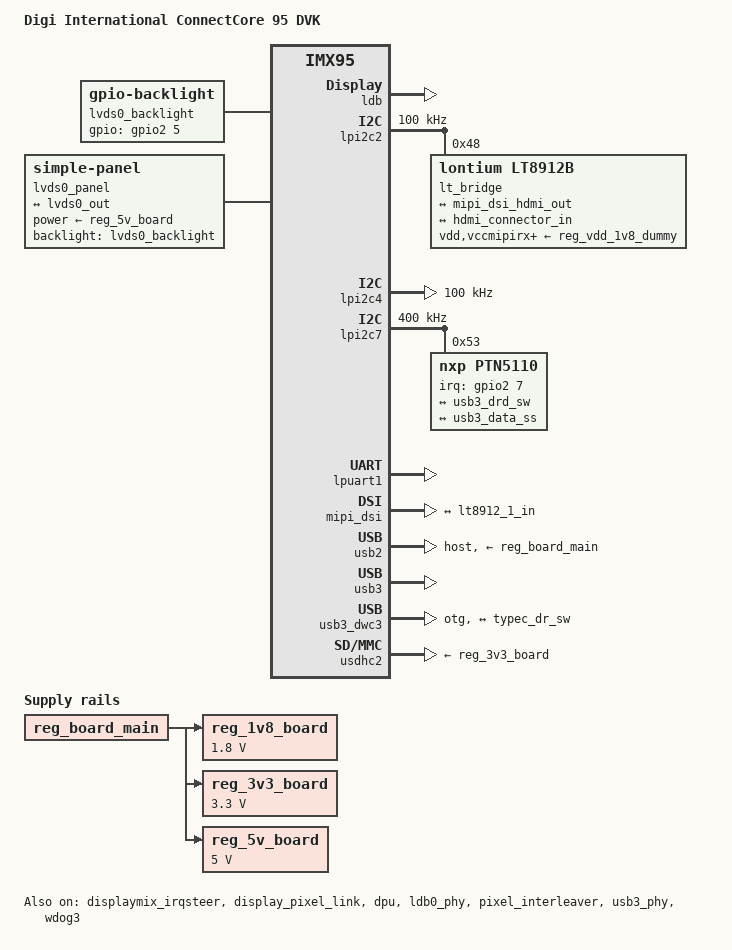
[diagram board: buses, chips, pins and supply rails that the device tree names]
// SPDX-License-Identifier: (GPL-2.0+ OR MIT)
/*
 * Copyright 2025-2026 Digi International Inc.
 */

/dts-v1/;

#include <dt-bindings/phy/phy-imx8-pcie.h>
#include <dt-bindings/regulator/nxp,pf09-regulator.h>
#include <dt-bindings/pwm/pwm.h>
#include <dt-bindings/usb/pd.h>
/* i.MX95 CPU */
#include "imx95.dtsi"
/* Digi ConnectCore 95 (SOM) */
#include "ccimx95.dtsi"
/* Digi ConnectCore 95 SMARC card for SOM */
#include "ccimx95-smarc.dtsi"

/ {
	model = "Digi International ConnectCore 95 DVK";
	compatible = "digi,ccimx95-dvk", "digi,ccimx95", "fsl,imx95-19x19-evk", "fsl,imx95";
	digi,machine,name = "ccimx95-dvk";

	aliases {
		ethernet0 = &enetc_port0;
		ethernet1 = &enetc_port1;
	};

	chosen {
		stdout-path = &lpuart1;
	};

	hdmi_connector: hdmi-connector {
		compatible = "hdmi-connector";
		pinctrl-names = "default";
		pinctrl-0 = <&pinctrl_hdmi_hpd>;
		ddc-i2c-bus = <&lpi2c2>;
		hdmi-pwr-supply = <&reg_5v_board>;
		hpd-gpios = <&gpio1 8 GPIO_ACTIVE_HIGH>;
		label = "hdmi";
		type = "a";
		status = "disabled";

		port {
			hdmi_connector_in: endpoint {
				remote-endpoint = <&lt8912_out>;
			};
		};
	};

	lvds0_backlight: lvds0-backlight {
		compatible = "gpio-backlight";
		pinctrl-names = "default";
		pinctrl-0 = <&pinctrl_lvds0_backlight>;
		gpios = <&gpio2 5 GPIO_ACTIVE_HIGH>;
		default-on;
		status = "okay";
	};

	lvds0_panel {
		compatible = "simple-panel";
		backlight = <&lvds0_backlight>;
		power-supply = <&reg_5v_board>;
		status = "okay";

		display-timings {
			native-mode = <&timing0>;

			timing0: timing0 {
				clock-frequency = <71143000>;
				hactive = <1280>;
				vactive = <800>;
				hfront-porch = <120>;
				hback-porch = <2>;
				hsync-len = <8>;
				vback-porch = <10>;
				vfront-porch = <2>;
				vsync-len = <6>;
				hsync-active = <1>;
				vsync-active = <1>;
			};
		};

		port {
			panel_lvds0_in: endpoint {
				remote-endpoint = <&lvds0_out>;
			};
		};
	};

	lvds1_backlight: lvds1-backlight {
		compatible = "gpio-backlight";
		pinctrl-names = "default";
		pinctrl-0 = <&pinctrl_lvds1_backlight>;
		gpios = <&gpio2 4 GPIO_ACTIVE_HIGH>;
		default-on;
		status = "disabled";
	};

	lvds1_panel {
		compatible = "simple-panel";
		backlight = <&lvds1_backlight>;
		power-supply = <&reg_5v_board>;
		status = "disabled";

		display-timings {
			native-mode = <&timing1>;

			timing1: timing1 {
				clock-frequency = <71143000>;
				hactive = <1280>;
				vactive = <800>;
				hfront-porch = <120>;
				hback-porch = <2>;
				hsync-len = <8>;
				vback-porch = <10>;
				vfront-porch = <2>;
				vsync-len = <6>;
				hsync-active = <1>;
				vsync-active = <1>;
			};
		};

		port {
			panel_lvds1_in: endpoint {
				remote-endpoint = <&lvds1_out>;
			};
		};
	};

	regulators {
		compatible = "simple-bus";
		#address-cells = <1>;
		#size-cells = <0>;

		/* Enabled by SMARC_CARRIER_PWR_ON (MCA) */
		reg_board_main: regulator-board-main {
			compatible = "regulator-fixed";
			regulator-name = "reg_main";
			enable-active-high;
		};

		reg_1v8_board: regulator-1v8-board {
			compatible = "regulator-fixed";
			regulator-max-microvolt = <1800000>;
			regulator-min-microvolt = <1800000>;
			regulator-name = "1v8_board";
			vin-supply = <&reg_board_main>;
		};

		reg_3v3_board: regulator-3v3-board {
			compatible = "regulator-fixed";
			regulator-max-microvolt = <3300000>;
			regulator-min-microvolt = <3300000>;
			regulator-name = "3v3_board";
			vin-supply = <&reg_board_main>;
		};

		reg_5v_board: regulator-5v-board {
			compatible = "regulator-fixed";
			regulator-max-microvolt = <5000000>;
			regulator-min-microvolt = <5000000>;
			regulator-name = "5v_board";
			vin-supply = <&reg_board_main>;
		};
	};
};

&displaymix_irqsteer {
	status = "okay";
};

&display_pixel_link {
	status = "okay";
};

&dpu {
	clocks = <&scmi_clk IMX95_CLK_DISP1PIX>,
		 <&scmi_clk IMX95_CLK_DISPAPB>,
		 <&scmi_clk IMX95_CLK_DISPAXI>,
		 <&scmi_clk IMX95_CLK_DISPOCRAM>,
		 <&scmi_clk IMX95_CLK_LDBPLL>,
		 <&scmi_clk IMX95_CLK_LDBPLL_VCO>;
	status = "okay";
};

&flexspi1 {
	pinctrl-names = "default", "sleep";
	pinctrl-0 = <&pinctrl_flexspi1>;
	pinctrl-1 = <&pinctrl_flexspi1>;
	/*
	 * TODO: reset line unsupported by FlexSPI driver
	 * SMARC_ESPI_RESET# comes from MCA PA12
	 */
	status = "disabled";
};

&ldb {
	#address-cells = <1>;
	#size-cells = <0>;
	assigned-clocks = <&scmi_clk IMX95_CLK_LDBPLL_VCO>,
			  <&scmi_clk IMX95_CLK_LDBPLL>;
	assigned-clock-rates = <2988000000>, <498000000>;
	assigned-clock-parents = <0>, <&scmi_clk IMX95_CLK_LDBPLL_VCO>;
	status = "okay";

	channel@0 {
		#address-cells = <1>;
		#size-cells = <0>;
		reg = <0>;
		fsl,data-mapping = "jeida";
		fsl,data-width = <24>;
		status = "okay";

		port@1 {
			reg = <1>;

			lvds0_out: endpoint {
				remote-endpoint = <&panel_lvds0_in>;
			};
		};
	};

	channel@1 {
		#address-cells = <1>;
		#size-cells = <0>;
		reg = <1>;
		fsl,data-mapping = "jeida";
		fsl,data-width = <24>;
		status = "disabled";

		port@1 {
			reg = <1>;

			lvds1_out: endpoint {
				remote-endpoint = <&panel_lvds1_in>;
			};
		};
	};
};

&ldb0_phy {
	status = "okay";
};

&ldb1_phy {
	status = "disabled";
};

&lpi2c2 {
	#address-cells = <1>;
	#size-cells = <0>;
	clock-frequency = <100000>;
	status = "okay";

	lt_bridge: lt8912@48 {
		compatible = "lontium,lt8912b";
		reg = <0x48>;
		vdd-supply = <&reg_vdd_1v8_dummy>;
		vccmipirx-supply = <&reg_vdd_1v8_dummy>;
		vcchdmitx-supply = <&reg_vdd_1v8_dummy>;
		vcchdmipll-supply = <&reg_vdd_1v8_dummy>;
		vcclvdstx-supply = <&reg_vdd_1v8_dummy>;
		vccsysclk-supply = <&reg_vdd_1v8_dummy>;
		vcclvdspll-supply = <&reg_vdd_1v8_dummy>;
		status = "okay";

		ports {
			#address-cells = <1>;
			#size-cells = <0>;

			port@0 {
				reg = <0>;
				lt8912_1_in: endpoint {
					data-lanes = <1 2 3 4>;
					remote-endpoint = <&mipi_dsi_hdmi_out>;
				};
			};

			port@1 {
				reg = <1>;
				lt8912_out: endpoint {
					remote-endpoint = <&hdmi_connector_in>;
				};
			};
		};
	};
};

&lpi2c4 {
	#address-cells = <1>;
	#size-cells = <0>;
	clock-frequency = <100000>;
	status = "okay";

	max98089: codec@10 {
		compatible = "maxim,max98089";
		reg = <0x10>;
		clocks = <&scmi_clk IMX95_CLK_SAI3>;
		clock-names = "mclk";
		dvdd-supply = <&reg_vdd_1v8_dummy>;
		status = "disabled";
	};
};

&lpi2c7 {
	#address-cells = <1>;
	#size-cells = <0>;
	clock-frequency = <400000>;
	status = "okay";

	ptn5110: tcpc@53 {
		compatible = "nxp,ptn5110";
		reg = <0x53>;
		interrupt-parent = <&gpio2>;
		interrupts = <7 IRQ_TYPE_LEVEL_LOW>;
		pinctrl-names = "default";
		pinctrl-0 = <&pinctrl_ptn5110>;

		port {
			typec_dr_sw: endpoint {
				remote-endpoint = <&usb3_drd_sw>;
			};
		};

		typec_con: connector {
			compatible = "usb-c-connector";
			label = "USB-C";
			power-role = "dual";
			data-role = "dual";
			try-power-role = "sink";
			source-pdos = <PDO_FIXED(5000, 3000, PDO_FIXED_USB_COMM)>;
			sink-pdos = <PDO_FIXED(5000, 0, PDO_FIXED_USB_COMM)>;
			op-sink-microwatt = <0>;
			self-powered;

			ports {
				#address-cells = <1>;
				#size-cells = <0>;

				port@1 {
					reg = <1>;
					typec_con_ss: endpoint {
						remote-endpoint = <&usb3_data_ss>;
					};
				};
			};
		};
	};
};

&lpspi1 {
	status = "disabled";

	spidev0: spi@0 {
		/*
		 * spidev uses a compatible string 'rohm,fs2228fv' to have the
		 * driver create an spi device node. This is just an example,
		 * there is not a real device connected on the SPI bus.
		 */
		compatible = "rohm,dh2228fv";
		reg = <0>;
		spi-max-frequency = <1000000>;
	};
};

/* Console */
&lpuart1 {
	/* Errata: DMA does not work on LPUART1 */
	/delete-property/dmas;
	/delete-property/dma-names;
	status = "okay";
};

&lpuart3 {
	status = "disabled";
};

/*
 * LPUART5 is connected to:
 * - Bluetooth chip on wireless variants
 * - XBee on the DVK
 * Only one interface can work at a time.
 * The Bluetooth overlay has precedence over XBee.
 */
&lpuart5 {
	status = "disabled";
	pinctrl-names = "default";
	pinctrl-0 = <&pinctrl_uart5>, <&pinctrl_xbee_gpios>;
};

/* LPUART7 routed to RS485 transceiver */
&lpuart7 {
	pinctrl-names = "default";
	pinctrl-0 = <&pinctrl_uart7_rs485>;
	linux,rs485-enabled-at-boot-time;
	digi,rts-gpio = <&gpio2 10 GPIO_ACTIVE_HIGH>;
	/delete-property/dmas;
	/delete-property/dma-names;
	status = "disabled";
};

&mipi_dsi {
	status = "okay";

	ports {
		#address-cells = <1>;
		#size-cells = <0>;

		port@1 {
			reg = <1>;

			mipi_dsi_hdmi_out: endpoint {
				remote-endpoint = <&lt8912_1_in>;
			};
		};
	};
};

&pixel_interleaver {
	#address-cells = <1>;
	#size-cells = <0>;
	status = "okay";

	channel@0 {
		reg = <0>;
		status = "okay";
	};

	channel@1 {
		reg = <1>;
		status = "disabled";
	};
};

&usb2 {
	/* On SMARC DVKv1 powered directly from VIN_5V */
	vbus-supply = <&reg_board_main>;
	dr_mode = "host";
	disable-over-current;
	status = "okay";
};

&usb3 {
	status = "okay";
};

&usb3_dwc3 {
	dr_mode = "otg";
	hnp-disable;
	srp-disable;
	adp-disable;
	usb-role-switch;
	role-switch-default-mode = "host";
	snps,dis-u1-entry-quirk;
	snps,dis-u2-entry-quirk;
	status = "okay";

	port {
		usb3_drd_sw: endpoint {
			remote-endpoint = <&typec_dr_sw>;
		};
	};
};

&usb3_phy {
	vbus-supply = <&reg_5v_board>;
	fsl,phy-pcs-tx-deemph-3p5db-attenuation-db = <17>;
	fsl,phy-pcs-tx-swing-full-percent = <100>;
	fsl,phy-tx-preemp-amp-tune-microamp = <600>;
	fsl,phy-tx-vboost-level-microvolt = <1156>;
	status = "okay";

	port {
		usb3_data_ss: endpoint {
			remote-endpoint = <&typec_con_ss>;
		};
	};
};

/* MicroSD */
&usdhc2 {
	vmmc-supply = <&reg_3v3_board>;
};

&wdog3 {
	status = "okay";
};

&scmi_iomuxc {
	pinctrl_lvds0_backlight: lvds0-backlightgrp {
		fsl,pins = <
			IMX95_PAD_GPIO_IO05__GPIO2_IO_BIT5		0x31e
		>;
	};

	pinctrl_lvds1_backlight: lvds1-backlightgrp {
		fsl,pins = <
			IMX95_PAD_GPIO_IO04__GPIO2_IO_BIT4		0x31e
		>;
	};

	pinctrl_hdmi_hpd: hdmi_hpd_grp {
		fsl,pins = <
			IMX95_PAD_PDM_CLK__AONMIX_TOP_GPIO1_IO_BIT8	0x31e
		>;
	};

	pinctrl_ptn5110: ptn5110grp {
		fsl,pins = <
			/* PTN5110 irq line (ALERT_N) line */
			IMX95_PAD_GPIO_IO07__GPIO2_IO_BIT7		0x31e
			/* PTN5110 debug irq (DBG_ACC) line */
			IMX95_PAD_ENET1_MDC__GPIO4_IO_BIT0		0x31e
		>;
	};

	pinctrl_reg_3v3_board: reg3v3grp {
		fsl,pins = <
			/* 3V3_BOARD_EN */
			IMX95_PAD_GPIO_IO34__GPIO5_IO_BIT14		0x31e
		>;
	};

	pinctrl_reg_5v_board: reg5vgrp {
		fsl,pins = <
			/* 5V_DVK_PWR_ON */
			IMX95_PAD_SAI1_RXD0__AONMIX_TOP_GPIO1_IO_BIT14	0x31e
		>;
	};

	pinctrl_reg_can1_stby: regcan1stbygrp {
		fsl,pins = <
			IMX95_PAD_SAI1_TXFS__AONMIX_TOP_GPIO1_IO_BIT11	0x31e
		>;
	};

	pinctrl_reg_can2_stby: regcan2stbygrp {
		fsl,pins = <
			IMX95_PAD_SAI1_TXD0__AONMIX_TOP_GPIO1_IO_BIT13	0x31e
		>;
	};

	pinctrl_uart7_rs485: uart7grprs485 {
		fsl,pins = <
			IMX95_PAD_GPIO_IO37__LPUART7_RX			0x31e
			IMX95_PAD_GPIO_IO36__LPUART7_TX			0x31e
			/* RS485_DE */
			IMX95_PAD_GPIO_IO10__GPIO2_IO_BIT10		0x31e
		>;
	};

	/* XBee RF IO lines */
	pinctrl_xbee_gpios: xbeegrp {
		fsl,pins = <
			/* XBEE_RESET_N */
			IMX95_PAD_SD2_RESET_B__GPIO3_IO_BIT7		0x31e
		>;
	};
};
